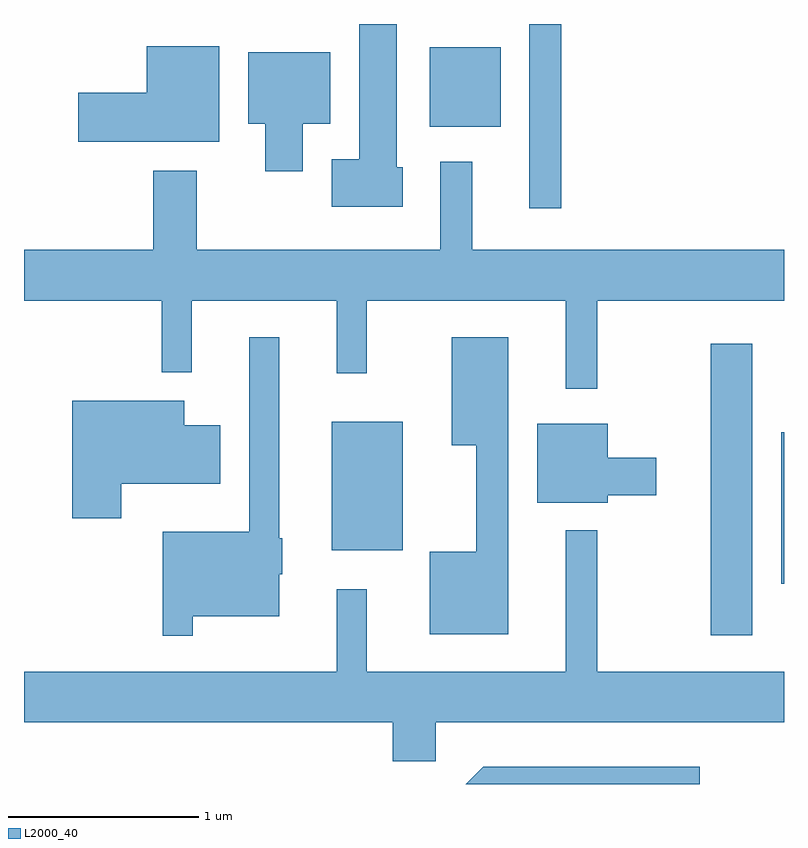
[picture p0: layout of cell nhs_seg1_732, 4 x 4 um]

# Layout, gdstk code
import gdstk
lib = gdstk.Library(unit=1e-6, precision=1e-09)
def R(c, l, rs):  # rectangles x0, y0, x1, y1
    for r in rs: c.add(gdstk.rectangle(r[:2], r[2:], *l))
def P(c, l, *ps):  # polygons
    for p in ps: c.add(gdstk.Polygon(p, *l))
L2000_40 = (2000, 40)

nhs_seg1_732 = lib.new_cell('nhs_seg1_732')
R(nhs_seg1_732, L2000_40, [(211.226,884.496,211.444,886.029), (211.596,884.766,211.611,885.563), (209.231,884.941,209.604,885.619), (210.271,886.743,210.439,887.712), (209.746,887.171,210.119,887.589)])
P(nhs_seg1_732, L2000_40, [(209.604,886.959),(209.574,886.959),(209.574,887.712),(209.376,887.712),(209.376,886.999),(209.231,886.999),(209.231,886.751),(209.604,886.751)],
  [(208.639,887.594),(208.256,887.594),(208.256,887.349),(207.896,887.349),(207.896,887.091),(208.639,887.091)],
  [(209.079,887.186),(209.224,887.186),(209.224,887.564),(208.791,887.564),(208.791,887.186),(208.881,887.186),(208.881,886.936),(209.079,886.936)],
  [(210.629,886.256),(211.611,886.256),(211.611,886.524),(209.969,886.524),(209.969,886.988),(209.801,886.988),(209.801,886.524),(208.519,886.524),(208.519,886.939),(208.291,886.939),(208.291,886.524),(207.611,886.524),(207.611,886.256),(208.336,886.256),(208.336,885.878),(208.494,885.878),(208.494,886.256),(209.256,886.256),(209.256,885.873),(209.414,885.873),(209.414,886.256),(210.461,886.256),(210.461,885.793),(210.629,885.793)],
  [(210.159,886.064),(209.861,886.064),(209.861,885.496),(209.991,885.496),(209.991,884.934),(209.746,884.934),(209.746,884.501),(210.159,884.501)],
  [(208.499,884.596),(208.954,884.596),(208.954,884.815),(208.969,884.815),(208.969,885.005),(208.954,885.005),(208.954,886.063),(208.796,886.063),(208.796,885.039),(208.341,885.039),(208.341,884.493),(208.499,884.493)],
  [(208.124,885.291),(208.644,885.291),(208.644,885.599),(208.454,885.599),(208.454,885.729),(207.866,885.729),(207.866,885.111),(208.124,885.111)],
  [(210.684,885.231),(210.939,885.231),(210.939,885.429),(210.684,885.429),(210.684,885.609),(210.311,885.609),(210.311,885.191),(210.684,885.191)],
  [(209.779,884.036),(211.611,884.036),(211.611,884.304),(210.629,884.304),(210.629,885.048),(210.461,885.048),(210.461,884.304),(209.414,884.304),(209.414,884.738),(209.256,884.738),(209.256,884.304),(207.611,884.304),(207.611,884.036),(209.551,884.036),(209.551,883.831),(209.779,883.831)],
  [(211.168,883.804),(210.029,883.804),(209.937,883.712),(211.168,883.712)])

lib.write_gds('nhs_seg1_732.gds')
